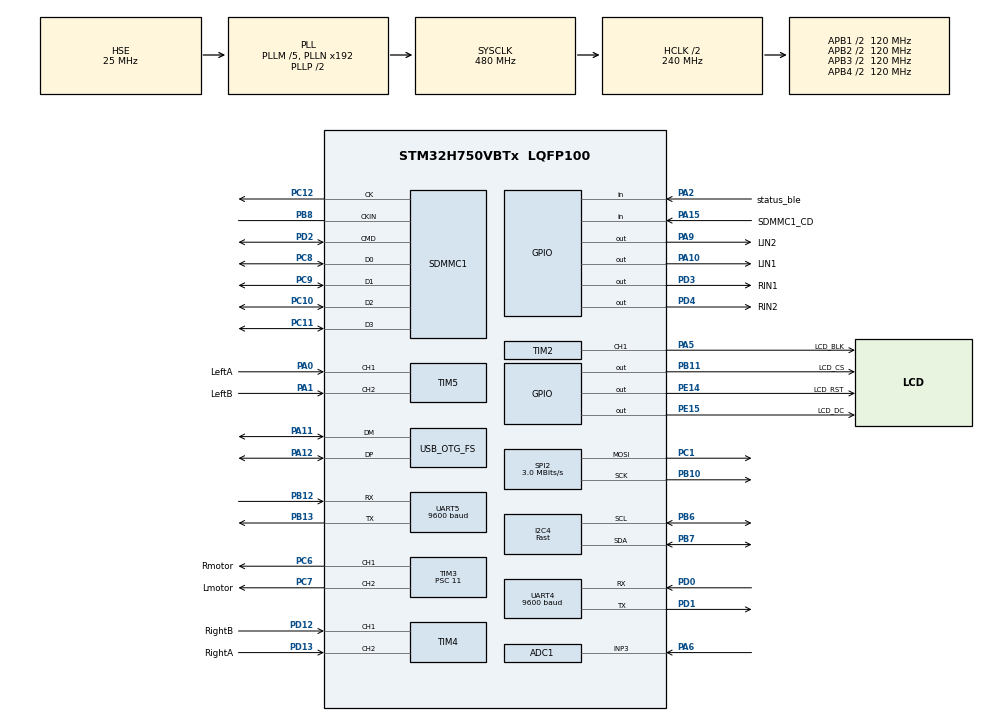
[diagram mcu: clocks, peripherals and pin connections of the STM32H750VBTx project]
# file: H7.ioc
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ADC1.Channel-1\#ChannelRegularConversion=ADC_CHANNEL_3
ADC1.ContinuousConvMode=ENABLE
ADC1.ConversionDataManagement=ADC_CONVERSIONDATA_DFSDM
ADC1.NbrOfConversionFlag=1
ADC1.OffsetNumber-1\#ChannelRegularConversion=ADC_OFFSET_NONE
ADC1.OffsetSignedSaturation-1\#ChannelRegularConversion=DISABLE
ADC1.Overrun=ADC_OVR_DATA_OVERWRITTEN
ADC1.Rank-1\#ChannelRegularConversion=1
ADC1.SamplingTime-1\#ChannelRegularConversion=ADC_SAMPLETIME_64CYCLES_5
ADC1.master=1
CORTEX_M7.default_mode_Activation=1
Dma.ADC1.0.Direction=DMA_PERIPH_TO_MEMORY
Dma.ADC1.0.EventEnable=DISABLE
Dma.ADC1.0.FIFOMode=DMA_FIFOMODE_DISABLE
Dma.ADC1.0.Instance=DMA1_Stream0
Dma.ADC1.0.MemDataAlignment=DMA_MDATAALIGN_HALFWORD
Dma.ADC1.0.MemInc=DMA_MINC_ENABLE
Dma.ADC1.0.Mode=DMA_CIRCULAR
Dma.ADC1.0.PeriphDataAlignment=DMA_PDATAALIGN_HALFWORD
Dma.ADC1.0.PeriphInc=DMA_PINC_DISABLE
Dma.ADC1.0.Polarity=HAL_DMAMUX_REQ_GEN_RISING
Dma.ADC1.0.Priority=DMA_PRIORITY_LOW
Dma.ADC1.0.RequestNumber=1
Dma.ADC1.0.SignalID=NONE
Dma.ADC1.0.SyncEnable=DISABLE
Dma.ADC1.0.SyncPolarity=HAL_DMAMUX_SYNC_NO_EVENT
Dma.ADC1.0.SyncRequestNumber=1
Dma.ADC1.0.SyncSignalID=NONE
Dma.Request0=ADC1
Dma.Request1=UART4_RX
Dma.Request2=SPI2_TX
Dma.SPI2_TX.2.Direction=DMA_MEMORY_TO_PERIPH
Dma.SPI2_TX.2.EventEnable=DISABLE
Dma.SPI2_TX.2.FIFOMode=DMA_FIFOMODE_DISABLE
Dma.SPI2_TX.2.Instance=DMA1_Stream2
Dma.SPI2_TX.2.MemDataAlignment=DMA_MDATAALIGN_BYTE
Dma.SPI2_TX.2.MemInc=DMA_MINC_ENABLE
Dma.SPI2_TX.2.Mode=DMA_NORMAL
Dma.SPI2_TX.2.PeriphDataAlignment=DMA_PDATAALIGN_BYTE
Dma.SPI2_TX.2.PeriphInc=DMA_PINC_DISABLE
Dma.SPI2_TX.2.Polarity=HAL_DMAMUX_REQ_GEN_RISING
Dma.SPI2_TX.2.Priority=DMA_PRIORITY_LOW
Dma.SPI2_TX.2.RequestNumber=1
Dma.SPI2_TX.2.SignalID=NONE
Dma.SPI2_TX.2.SyncEnable=DISABLE
Dma.SPI2_TX.2.SyncPolarity=HAL_DMAMUX_SYNC_NO_EVENT
Dma.SPI2_TX.2.SyncRequestNumber=1
Dma.SPI2_TX.2.SyncSignalID=NONE
Dma.UART4_RX.1.Direction=DMA_PERIPH_TO_MEMORY
Dma.UART4_RX.1.EventEnable=DISABLE
Dma.UART4_RX.1.FIFOMode=DMA_FIFOMODE_DISABLE
Dma.UART4_RX.1.Instance=DMA1_Stream1
Dma.UART4_RX.1.MemDataAlignment=DMA_MDATAALIGN_BYTE
Dma.UART4_RX.1.MemInc=DMA_MINC_ENABLE
Dma.UART4_RX.1.Mode=DMA_CIRCULAR
Dma.UART4_RX.1.PeriphDataAlignment=DMA_PDATAALIGN_BYTE
Dma.UART4_RX.1.PeriphInc=DMA_PINC_DISABLE
Dma.UART4_RX.1.Polarity=HAL_DMAMUX_REQ_GEN_RISING
Dma.UART4_RX.1.Priority=DMA_PRIORITY_HIGH
Dma.UART4_RX.1.RequestNumber=1
Dma.UART4_RX.1.SignalID=NONE
Dma.UART4_RX.1.SyncEnable=DISABLE
Dma.UART4_RX.1.SyncPolarity=HAL_DMAMUX_SYNC_NO_EVENT
Dma.UART4_RX.1.SyncRequestNumber=1
Dma.UART4_RX.1.SyncSignalID=NONE
FREERTOS.HEAP_NUMBER=2
FREERTOS.Tasks01=defaultTask,24,128,StartDefaultTask,Default,NULL,Dynamic,NULL,NULL;ServoTask,27,256,StartTask02,Default,NULL,Dynamic,NULL,NULL;MotorTask,44,256,StartTask03,Default,NULL,Dynamic,NULL,NULL;DisplayTask,9,512,StartTask04,Default,NULL,Dynamic,NULL,NULL;ControlTask,27,512,StartTask05,Default,NULL,Dynamic,NULL,NULL;BluetoothTask,8,256,StartTask06,Default,NULL,Dynamic,NULL,NULL
FREERTOS.configTOTAL_HEAP_SIZE=51200
I2C4.I2C_Speed_Mode=I2C_Fast
I2C4.Timing=0x00000004
Mcu.Family=STM32H7
Mcu.Name=STM32H750VBTx
Mcu.Package=LQFP100
NVIC.DMA1_Stream0_IRQn=true\:5\:0\:true\:false\:true\:true\:false\:true\:true
NVIC.DMA1_Stream1_IRQn=true\:5\:0\:true\:false\:true\:true\:false\:true\:true
NVIC.DMA1_Stream2_IRQn=true\:5\:0\:true\:false\:true\:true\:false\:true\:true
NVIC.PriorityGroup=NVIC_PRIORITYGROUP_4
NVIC.SPI2_IRQn=true\:7\:0\:true\:false\:true\:true\:false\:true\:true
NVIC.TIM3_IRQn=true\:5\:0\:true\:false\:true\:true\:true\:true\:true
NVIC.TIM4_IRQn=true\:5\:0\:false\:false\:true\:true\:true\:true\:true
NVIC.TIM5_IRQn=true\:5\:0\:true\:false\:true\:false\:true\:true\:true
NVIC.TIM7_IRQn=true\:15\:0\:false\:false\:true\:false\:false\:true\:true
NVIC.TimeBase=TIM7_IRQn
NVIC.TimeBaseIP=TIM7
NVIC.UART4_IRQn=true\:5\:0\:true\:false\:true\:true\:true\:true\:true
NVIC.UART5_IRQn=true\:5\:0\:false\:false\:true\:true\:true\:true\:true
PA0.GPIO_Label=LeftA
PA0.Signal=S_TIM5_CH1
PA1.GPIO_Label=LeftB
PA1.Signal=S_TIM5_CH2
PA10.GPIO_Label=LIN1
PA10.Signal=GPIO_Output
PA11.Mode=Device_Only
PA11.Signal=USB_OTG_FS_DM
PA12.Mode=Device_Only
PA12.Signal=USB_OTG_FS_DP
PA13\ (JTMS/SWDIO).Mode=Serial_Wire
PA13\ (JTMS/SWDIO).Signal=DEBUG_JTMS-SWDIO
PA14\ (JTCK/SWCLK).Mode=Serial_Wire
PA14\ (JTCK/SWCLK).Signal=DEBUG_JTCK-SWCLK
PA15\ (JTDI).GPIO_Label=SDMMC1_CD
PA15\ (JTDI).Signal=GPIO_Input
PA2.GPIO_Label=status_ble
PA2.Signal=GPIO_Input
PA5.GPIO_Label=LCD_BLK
PA5.Signal=S_TIM2_CH1_ETR
PA6.Signal=ADCx_INP3
PA9.GPIO_Label=LIN2
PA9.Signal=GPIO_Output
PB10.Mode=TX_Only_Simplex_Unidirect_Master
PB10.Signal=SPI2_SCK
PB11.GPIO_Label=LCD_CS
PB11.PinState=GPIO_PIN_SET
PB11.Signal=GPIO_Output
PB12.Mode=Asynchronous
PB12.Signal=UART5_RX
PB13.Mode=Asynchronous
PB13.Signal=UART5_TX
PB6.GPIO_Pu=GPIO_PULLUP
PB6.Mode=I2C
PB6.Signal=I2C4_SCL
PB7.GPIO_Pu=GPIO_PULLUP
PB7.Mode=I2C
PB7.Signal=I2C4_SDA
PB8.Mode=SD_4_bits_Wide_bus_auto_dir_voltage_converter
PB8.Signal=SDMMC1_CKIN
PC1.Mode=TX_Only_Simplex_Unidirect_Master
PC1.Signal=SPI2_MOSI
PC10.Mode=SD_4_bits_Wide_bus_auto_dir_voltage_converter
PC10.Signal=SDMMC1_D2
PC11.Mode=SD_4_bits_Wide_bus_auto_dir_voltage_converter
PC11.Signal=SDMMC1_D3
PC12.Mode=SD_4_bits_Wide_bus_auto_dir_voltage_converter
PC12.Signal=SDMMC1_CK
PC14-OSC32_IN\ (OSC32_IN).Mode=LSE-External-Oscillator
PC14-OSC32_IN\ (OSC32_IN).Signal=RCC_OSC32_IN
PC15-OSC32_OUT\ (OSC32_OUT).Mode=LSE-External-Oscillator
PC15-OSC32_OUT\ (OSC32_OUT).Signal=RCC_OSC32_OUT
PC6.GPIO_Label=Rmotor
PC6.Signal=S_TIM3_CH1
PC7.GPIO_Label=Lmotor
PC7.Signal=S_TIM3_CH2
PC8.Mode=SD_4_bits_Wide_bus_auto_dir_voltage_converter
PC8.Signal=SDMMC1_D0
PC9.Mode=SD_4_bits_Wide_bus_auto_dir_voltage_converter
PC9.Signal=SDMMC1_D1
PD0.Mode=Asynchronous
PD0.Signal=UART4_RX
PD1.Mode=Asynchronous
PD1.Signal=UART4_TX
PD12.GPIO_Label=RightB
PD12.Signal=S_TIM4_CH1
PD13.GPIO_Label=RightA
PD13.Signal=S_TIM4_CH2
PD2.Mode=SD_4_bits_Wide_bus_auto_dir_voltage_converter
PD2.Signal=SDMMC1_CMD
PD3.GPIO_Label=RIN1
PD3.Signal=GPIO_Output
PD4.GPIO_Label=RIN2
PD4.Signal=GPIO_Output
PE14.GPIO_Label=LCD_RST
PE14.PinState=GPIO_PIN_SET
PE14.Signal=GPIO_Output
PE15.GPIO_Label=LCD_DC
PE15.Signal=GPIO_Output
PH0-OSC_IN\ (PH0).Mode=HSE-External-Oscillator
PH0-OSC_IN\ (PH0).Signal=RCC_OSC_IN
PH1-OSC_OUT\ (PH1).Mode=HSE-External-Oscillator
PH1-OSC_OUT\ (PH1).Signal=RCC_OSC_OUT
ProjectManager.HeapSize=0x200
ProjectManager.StackSize=0x400
ProjectManager.TargetToolchain=CMake
RCC.ADCFreq_Value=24000000
RCC.APB1Freq_Value=120000000
RCC.APB2Freq_Value=120000000
RCC.APB3Freq_Value=120000000
RCC.APB4Freq_Value=120000000
RCC.CortexFreq_Value=480000000
RCC.D1PPRE=RCC_APB3_DIV2
RCC.D2PPRE1=RCC_APB1_DIV2
RCC.D2PPRE2=RCC_APB2_DIV2
RCC.D3PPRE=RCC_APB4_DIV2
RCC.DIVM1=5
RCC.DIVM2=5
RCC.DIVM3=25
RCC.DIVN1=192
RCC.DIVN2=48
RCC.DIVN3=200
RCC.DIVP2=10
RCC.DIVQ1=20
RCC.DIVR3=50
RCC.HCLKFreq_Value=240000000
RCC.HPRE=RCC_HCLK_DIV2
RCC.HSIDiv=RCC_PLLSAIDIVR_8
RCC.I2C4CLockSelection=RCC_I2C4CLKSOURCE_PLL3
RCC.PLL1_VCI_Range-AdvancedSettings=RCC_PLL1VCIRANGE_1
RCC.PLL2FRACN=0
RCC.PLL2_VCO_SEL-AdvancedSettings=RCC_PLL2VCOMEDIUM
RCC.PLL3FRACN=0
RCC.PLLFRACN=0
RCC.SYSCLKFreq_VALUE=480000000
RCC.SYSCLKSource=RCC_SYSCLKSOURCE_PLLCLK
RCC.USART234578CLockSelection=RCC_USART234578CLKSOURCE_PLL2
RCC.USBFreq_Value=48000000
SH.ADCx_INP3.0=ADC1_INP3,IN3-Single-Ended
SH.S_TIM2_CH1_ETR.0=TIM2_CH1,PWM Generation1 CH1
SH.S_TIM3_CH1.0=TIM3_CH1,PWM Generation1 CH1
SH.S_TIM3_CH2.0=TIM3_CH2,PWM Generation2 CH2
SH.S_TIM4_CH1.0=TIM4_CH1,Encoder_Interface
SH.S_TIM4_CH2.0=TIM4_CH2,Encoder_Interface
SH.S_TIM5_CH1.0=TIM5_CH1,Encoder_Interface
SH.S_TIM5_CH2.0=TIM5_CH2,Encoder_Interface
SPI2.BaudRatePrescaler=SPI_BAUDRATEPRESCALER_16
SPI2.CalculateBaudRate=3.0 MBits/s
SPI2.DataSize=SPI_DATASIZE_8BIT
SPI2.Direction=SPI_DIRECTION_2LINES_TXONLY
SPI2.Mode=SPI_MODE_MASTER
SPI2.VirtualType=VM_MASTER
TIM2.AutoReloadPreload=TIM_AUTORELOAD_PRELOAD_ENABLE
TIM2.Channel-PWM\ Generation1\ CH1=TIM_CHANNEL_1
TIM2.OCFastMode_PWM-PWM\ Generation1\ CH1=TIM_OCFAST_DISABLE
TIM2.Period=19999
TIM2.Prescaler=119
TIM3.AutoReloadPreload=TIM_AUTORELOAD_PRELOAD_ENABLE
TIM3.Channel-PWM\ Generation1\ CH1=TIM_CHANNEL_1
TIM3.Channel-PWM\ Generation2\ CH2=TIM_CHANNEL_2
TIM3.Period=999
TIM3.Prescaler=11
TIM4.IC1Filter=10
TIM4.IC2Filter=10
TIM5.IC2Filter=10
UART4.BaudRate=9600
UART4.FIFOMode=FIFOMODE_ENABLE
UART4.RXFIFOThreshold=RXFIFO_THRESHOLD_1QUARTERFULL
UART4.TXFIFOThreshold=TXFIFO_THRESHOLD_1QUARTERFULL
UART5.BaudRate=9600
UART5.FIFOMode=FIFOMODE_ENABLE
USB_OTG_FS.VirtualMode=Device_Only
VP_FREERTOS_VS_CMSIS_V2.Mode=CMSIS_V2
VP_MEMORYMAP_VS_MEMORYMAP.Mode=CurAppReg
VP_SYS_VS_tim7.Mode=TIM7
VP_TIM2_VS_ClockSourceINT.Mode=Internal
VP_TIM3_VS_ClockSourceINT.Mode=Internal
board=custom

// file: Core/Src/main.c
/* USER CODE BEGIN Header */
/**
  ******************************************************************************
  * @file           : main.c
  * @brief          : Main program body
  ******************************************************************************
  * @attention
  *
  * Copyright (c) 2026 STMicroelectronics.
  * All rights reserved.
  *
  * This software is licensed under terms that can be found in the LICENSE file
  * in the root directory of this software component.
  * If no LICENSE file comes with this software, it is provided AS-IS.
  *
  ******************************************************************************
  */
/* USER CODE END Header */
#include "main.h"
#include "cmsis_os.h"
#include "adc.h"
#include "dma.h"
#include "i2c.h"
#include "sdmmc.h"
#include "spi.h"
#include "tim.h"
#include "usart.h"
#include "usb_otg.h"
#include "gpio.h"

/* USER CODE BEGIN Includes */
#include <stdio.h>
#include "LCD.h"
#include "battery.h"
#include "servo.h"
#include "motor.h"
#include "Openmv.h"
#include "bluetooth.h"
#include "pid.h"
#include "auto.h"
/* USER CODE END Includes */

/* USER CODE BEGIN PV */
// 舵机数据
extern uint8_t servo_init_ok;
extern int16_t base_angle;
extern int16_t arm_angle;
extern int16_t claw_angle;
extern int16_t base_target;
extern int16_t arm_target;
extern int16_t claw_target;
/* USER CODE END PV */

void SystemClock_Config(void);
void PeriphCommonClock_Config(void);
static void MPU_Config(void);
void MX_FREERTOS_Init(void);

int main(void)
{

  /* MPU Configuration--------------------------------------------------------*/
  MPU_Config();

  /* MCU Configuration--------------------------------------------------------*/

  /* Reset of all peripherals, Initializes the Flash interface and the Systick. */
  HAL_Init();

  /* Configure the system clock */
  SystemClock_Config();

  /* Configure the peripherals common clocks */
  PeriphCommonClock_Config();

  /* Initialize all configured peripherals */
  MX_GPIO_Init();
  MX_DMA_Init();
  MX_ADC1_Init();
  MX_TIM2_Init();
  MX_SPI2_Init();
  MX_TIM3_Init();
  MX_TIM4_Init();
  MX_TIM5_Init();
  MX_UART4_Init();
  MX_UART5_Init();
  MX_I2C4_Init();
  MX_SDMMC1_SD_Init();
  MX_USB_OTG_FS_PCD_Init();
  /* USER CODE BEGIN 2 */
  ST7735_Init(&hspi2);
  Battery_Init(&hadc1);
  Motor_Init();
  Servo_Init(50);
  OpenMV_Init();
  Bluetooth_Init();
  /* USER CODE END 2 */

  /* Init scheduler */
  osKernelInitialize();  /* Call init function for freertos objects (in cmsis_os2.c) */
  MX_FREERTOS_Init();

  /* Start scheduler */
  osKernelStart();

  /* We should never get here as control is now taken by the scheduler */

  /* Infinite loop */
  while (1)
  {
  }

}

void SystemClock_Config(void)
{
  RCC_OscInitTypeDef RCC_OscInitStruct = {0};
  RCC_ClkInitTypeDef RCC_ClkInitStruct = {0};

  /** Supply configuration update enable
  */
  HAL_PWREx_ConfigSupply(PWR_LDO_SUPPLY);

  /** Configure the main internal regulator output voltage
  */
  __HAL_PWR_VOLTAGESCALING_CONFIG(PWR_REGULATOR_VOLTAGE_SCALE0);

  while(!__HAL_PWR_GET_FLAG(PWR_FLAG_VOSRDY)) {}

  /** Initializes the RCC Oscillators according to the specified parameters
  * in the RCC_OscInitTypeDef structure.
  */
  RCC_OscInitStruct.OscillatorType = RCC_OSCILLATORTYPE_HSE;
  RCC_OscInitStruct.HSEState = RCC_HSE_ON;
  RCC_OscInitStruct.PLL.PLLState = RCC_PLL_ON;
  RCC_OscInitStruct.PLL.PLLSource = RCC_PLLSOURCE_HSE;
  RCC_OscInitStruct.PLL.PLLM = 5;
  RCC_OscInitStruct.PLL.PLLN = 192;
  RCC_OscInitStruct.PLL.PLLP = 2;
  RCC_OscInitStruct.PLL.PLLQ = 20;
  RCC_OscInitStruct.PLL.PLLR = 2;
  RCC_OscInitStruct.PLL.PLLRGE = RCC_PLL1VCIRANGE_2;
  RCC_OscInitStruct.PLL.PLLVCOSEL = RCC_PLL1VCOWIDE;
  RCC_OscInitStruct.PLL.PLLFRACN = 0;
  if (HAL_RCC_OscConfig(&RCC_OscInitStruct) != HAL_OK)
  {
    Error_Handler();
  }

  /** Initializes the CPU, AHB and APB buses clocks
  */
  RCC_ClkInitStruct.ClockType = RCC_CLOCKTYPE_HCLK|RCC_CLOCKTYPE_SYSCLK
                              |RCC_CLOCKTYPE_PCLK1|RCC_CLOCKTYPE_PCLK2
                              |RCC_CLOCKTYPE_D3PCLK1|RCC_CLOCKTYPE_D1PCLK1;
  RCC_ClkInitStruct.SYSCLKSource = RCC_SYSCLKSOURCE_PLLCLK;
  RCC_ClkInitStruct.SYSCLKDivider = RCC_SYSCLK_DIV1;
  RCC_ClkInitStruct.AHBCLKDivider = RCC_HCLK_DIV2;
  RCC_ClkInitStruct.APB3CLKDivider = RCC_APB3_DIV2;
  RCC_ClkInitStruct.APB1CLKDivider = RCC_APB1_DIV2;
  RCC_ClkInitStruct.APB2CLKDivider = RCC_APB2_DIV2;
  RCC_ClkInitStruct.APB4CLKDivider = RCC_APB4_DIV2;

  if (HAL_RCC_ClockConfig(&RCC_ClkInitStruct, FLASH_LATENCY_4) != HAL_OK)
  {
    Error_Handler();
  }
}

void PeriphCommonClock_Config(void)
{
  RCC_PeriphCLKInitTypeDef PeriphClkInitStruct = {0};

  /** Initializes the peripherals clock
  */
  PeriphClkInitStruct.PeriphClockSelection = RCC_PERIPHCLK_ADC|RCC_PERIPHCLK_UART5
                              |RCC_PERIPHCLK_UART4;
  PeriphClkInitStruct.PLL2.PLL2M = 5;
  PeriphClkInitStruct.PLL2.PLL2N = 48;
  PeriphClkInitStruct.PLL2.PLL2P = 10;
  PeriphClkInitStruct.PLL2.PLL2Q = 2;
  PeriphClkInitStruct.PLL2.PLL2R = 2;
  PeriphClkInitStruct.PLL2.PLL2RGE = RCC_PLL2VCIRANGE_2;
  PeriphClkInitStruct.PLL2.PLL2VCOSEL = RCC_PLL2VCOMEDIUM;
  PeriphClkInitStruct.PLL2.PLL2FRACN = 0;
  PeriphClkInitStruct.Usart234578ClockSelection = RCC_USART234578CLKSOURCE_PLL2;
  PeriphClkInitStruct.AdcClockSelection = RCC_ADCCLKSOURCE_PLL2;
  if (HAL_RCCEx_PeriphCLKConfig(&PeriphClkInitStruct) != HAL_OK)
  {
    Error_Handler();
  }
}

 /* MPU Configuration */

void MPU_Config(void)
{
  MPU_Region_InitTypeDef MPU_InitStruct = {0};

  /* Disables the MPU */
  HAL_MPU_Disable();

  /** Initializes and configures the Region and the memory to be protected
  */
  MPU_InitStruct.Enable = MPU_REGION_ENABLE;
  MPU_InitStruct.Number = MPU_REGION_NUMBER0;
  MPU_InitStruct.BaseAddress = 0x0;
  MPU_InitStruct.Size = MPU_REGION_SIZE_4GB;
  MPU_InitStruct.SubRegionDisable = 0x87;
  MPU_InitStruct.TypeExtField = MPU_TEX_LEVEL0;
  MPU_InitStruct.AccessPermission = MPU_REGION_NO_ACCESS;
  MPU_InitStruct.DisableExec = MPU_INSTRUCTION_ACCESS_DISABLE;
  MPU_InitStruct.IsShareable = MPU_ACCESS_SHAREABLE;
  MPU_InitStruct.IsCacheable = MPU_ACCESS_NOT_CACHEABLE;
  MPU_InitStruct.IsBufferable = MPU_ACCESS_NOT_BUFFERABLE;

  HAL_MPU_ConfigRegion(&MPU_InitStruct);
  /* Enables the MPU */
  HAL_MPU_Enable(MPU_PRIVILEGED_DEFAULT);

}

void HAL_TIM_PeriodElapsedCallback(TIM_HandleTypeDef *htim)
{
  if (htim->Instance == TIM7)
  {
    HAL_IncTick();
  }
}

void Error_Handler(void)
{
  __disable_irq();
  while (1)
  {
  }
}

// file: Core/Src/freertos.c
/* USER CODE BEGIN Header */
/**
  ******************************************************************************
  * File Name          : freertos.c
  * Description        : Code for freertos applications
  ******************************************************************************
  * @attention
  *
  * Copyright (c) 2026 STMicroelectronics.
  * All rights reserved.
  *
  * This software is licensed under terms that can be found in the LICENSE file
  * in the root directory of this software component.
  * If no LICENSE file comes with this software, it is provided AS-IS.
  *
  ******************************************************************************
  */
/* USER CODE END Header */

#include "FreeRTOS.h"
#include "task.h"
#include "main.h"
#include "cmsis_os.h"

/* USER CODE BEGIN Includes */
#include <stdio.h>
#include "LCD.h"
#include "battery.h"
#include "servo.h"
#include "motor.h"
#include "Openmv.h"
#include "bluetooth.h"
#include "pid.h"
#include "auto.h"
/* USER CODE END Includes */

/* Definitions for defaultTask */
osThreadId_t defaultTaskHandle;
const osThreadAttr_t defaultTask_attributes = {
  .name = "defaultTask",
  .stack_size = 128 * 4,
  .priority = (osPriority_t) osPriorityNormal,
};
/* Definitions for ServoTask */
osThreadId_t ServoTaskHandle;
const osThreadAttr_t ServoTask_attributes = {
  .name = "ServoTask",
  .stack_size = 256 * 4,
  .priority = (osPriority_t) osPriorityNormal3,
};
/* Definitions for MotorTask */
osThreadId_t MotorTaskHandle;
const osThreadAttr_t MotorTask_attributes = {
  .name = "MotorTask",
  .stack_size = 256 * 4,
  .priority = (osPriority_t) osPriorityHigh4,
};
/* Definitions for DisplayTask */
osThreadId_t DisplayTaskHandle;
const osThreadAttr_t DisplayTask_attributes = {
  .name = "DisplayTask",
  .stack_size = 512 * 4,
  .priority = (osPriority_t) osPriorityLow1,
};
/* Definitions for ControlTask */
osThreadId_t ControlTaskHandle;
const osThreadAttr_t ControlTask_attributes = {
  .name = "ControlTask",
  .stack_size = 512 * 4,
  .priority = (osPriority_t) osPriorityNormal3,
};
/* Definitions for BluetoothTask */
osThreadId_t BluetoothTaskHandle;
const osThreadAttr_t BluetoothTask_attributes = {
  .name = "BluetoothTask",
  .stack_size = 256 * 4,
  .priority = (osPriority_t) osPriorityLow,
};

void StartDefaultTask(void *argument);
void StartTask02(void *argument);
void StartTask03(void *argument);
void StartTask04(void *argument);
void StartTask05(void *argument);
void StartTask06(void *argument);

void MX_FREERTOS_Init(void); /* (MISRA C 2004 rule 8.1) */

void MX_FREERTOS_Init(void) {

  /* Create the thread(s) */
  /* creation of defaultTask */
  defaultTaskHandle = osThreadNew(StartDefaultTask, NULL, &defaultTask_attributes);

  /* creation of ServoTask */
  ServoTaskHandle = osThreadNew(StartTask02, NULL, &ServoTask_attributes);

  /* creation of MotorTask */
  MotorTaskHandle = osThreadNew(StartTask03, NULL, &MotorTask_attributes);

  /* creation of DisplayTask */
  DisplayTaskHandle = osThreadNew(StartTask04, NULL, &DisplayTask_attributes);

  /* creation of ControlTask */
  ControlTaskHandle = osThreadNew(StartTask05, NULL, &ControlTask_attributes);

  /* creation of BluetoothTask */
  BluetoothTaskHandle = osThreadNew(StartTask06, NULL, &BluetoothTask_attributes);

}

void StartDefaultTask(void *argument)
{
  /* USER CODE BEGIN StartDefaultTask */
  /* Idle / health-check task — kept minimal */
  for(;;)
  {
    osDelay(1000);
  }
  /* USER CODE END StartDefaultTask */
}

void StartTask02(void *argument)
{
  /* USER CODE BEGIN StartTask02 */
  /* ServoTask — 舵机平滑运动 + 抓取状态机, 10ms 周期 */
  for(;;)
  {
    Servo_Handle_Tick();
    Servo_Task_GrabProcess();
    osDelay(10);
  }
  /* USER CODE END StartTask02 */
}

void StartTask03(void *argument)
{
  /* USER CODE BEGIN StartTask03 */
  /* MotorTask — 编码器刷新 + PID 闭环, 100ms 周期 */
  for(;;)
  {
    Motor_UpdateStatus();
    Motor_RunPID();
    osDelay(100);
  }
  /* USER CODE END StartTask03 */
}

void StartTask04(void *argument)
{
  /* USER CODE BEGIN StartTask04 */
  /* DisplayTask — LCD 信息刷新, 500ms 周期 */
  for(;;)
  {
    char buf[32];

    MotorStatus_t L = Motor_GetStatus(MOTOR_LEFT);
    MotorStatus_t R = Motor_GetStatus(MOTOR_RIGHT);

    char sign_Lv = L.speed < 0 ? '-' : ' ';
    int32_t abs_Lv = L.speed < 0 ? -L.speed : L.speed;
    char sign_Ld = L.distance < 0 ? '-' : ' ';
    int32_t abs_Ld = L.distance < 0 ? -L.distance : L.distance;

    char sign_Rv = R.speed < 0 ? '-' : ' ';
    int32_t abs_Rv = R.speed < 0 ? -R.speed : R.speed;
    char sign_Rd = R.distance < 0 ? '-' : ' ';
    int32_t abs_Rd = R.distance < 0 ? -R.distance : R.distance;

    // 左电机
    sprintf(buf, "L_v:%c%ld.%01ld cm/s   ", sign_Lv, abs_Lv / 10, abs_Lv % 10);
    ST7735_DrawString(5, 5, buf, WHITE, BLACK);
    sprintf(buf, "L_D:%c%ld.%01ld cm   ", sign_Ld, abs_Ld / 10, abs_Ld % 10);
    ST7735_DrawString(5, 15, buf, YELLOW, BLACK);

    // 右电机
    sprintf(buf, "R_v:%c%ld.%01ld cm/s   ", sign_Rv, abs_Rv / 10, abs_Rv % 10);
    ST7735_DrawString(5, 35, buf, WHITE, BLACK);
    sprintf(buf, "R_D:%c%ld.%01ld cm   ", sign_Rd, abs_Rd / 10, abs_Rd % 10);
    ST7735_DrawString(5, 45, buf, YELLOW, BLACK);

    // base / arm 当前角度
    sprintf(buf, "Base:%3d Arm:%3d    ", base_angle, arm_angle);
    ST7735_DrawString(5, 55, buf, WHITE, BLACK);

    // claw 当前/目标角度
    sprintf(buf, "Claw:%3d    ", claw_angle);
    ST7735_DrawString(5, 65, buf, WHITE, BLACK);

    // OpenMV 数据
    {
        static uint32_t last_openmv_tick = 0;
        static uint32_t last_rx_count = 0;
        uint32_t now = HAL_GetTick();
        if (uart4_rx_count != last_rx_count) {
            last_rx_count = uart4_rx_count;
            last_openmv_tick = now;
        }
        if (now - last_openmv_tick > 1000) {
            sprintf(buf, "OpenMV Error!!    ");
            ST7735_DrawString(5, 88, buf, RED, BLACK);
        } else {
            sprintf(buf, "RX:%lu            ", uart4_rx_count);
            ST7735_DrawString(5, 88, buf, WHITE, BLACK);
        }
        sprintf(buf, "TF:%d DS:%d ", g_openmv_data.offset, g_openmv_data.distance);
        ST7735_DrawString(5, 78, buf, YELLOW, BLACK);
    }

    // 电池
    Battery_Show();

    // 蓝牙状态
    sprintf(buf, "Mode:%s Dir:%d ", g_app_ctrl.mode == 0 ? "AUTO  " : "MANUAL", g_app_ctrl.direction);
    ST7735_DrawString(5, 100, buf, YELLOW, BLACK);
    sprintf(buf, "Rx: %02X %02X %02X %02X  ", g_app_ctrl.raw_data[0], g_app_ctrl.raw_data[1], g_app_ctrl.raw_data[2], g_app_ctrl.raw_data[3]);
    ST7735_DrawString(5, 110, buf, WHITE, BLACK);

    // 舵机状态 + 自动模式球数
    if (g_app_ctrl.mode == 0) {
        sprintf(buf, "S:%s B:%d    ", servo_init_ok ? "OK" : "ER",
                AutoMode_GetBallCount());
    } else {
        sprintf(buf, "S:%s    ", servo_init_ok ? "OK" : "ER");
    }
    ST7735_DrawString(5, 120, buf, servo_init_ok ? GREEN : RED, BLACK);

    osDelay(500);
  }
  /* USER CODE END StartTask04 */
}

void StartTask05(void *argument)
{
  /* USER CODE BEGIN StartTask05 */
  /* ControlTask — 模式切换检测 + 自动/手动模式控制逻辑 */
  static uint8_t last_mode = 255;

  for(;;)
  {
    // ---- 模式切换检测 ----
    if (g_app_ctrl.mode != last_mode) {
        last_mode = g_app_ctrl.mode;
        if (g_app_ctrl.mode == 0) {
            AutoMode_Reset();
        } else {
            Motor_Stop();
        }
    }

    if (g_app_ctrl.mode == 0) {
        // ========== 自动模式 ==========
        AutoMode_Run();
    } else {
        // ========== 手动模式 ==========

        // ---- 运动方向控制 (摇杆全向公式) ----
        {
            int32_t raw_y = g_app_ctrl.joy_l_y;
            int32_t raw_x = g_app_ctrl.joy_l_x;

            int32_t diff_y = raw_y - 128;
            int32_t diff_x = raw_x - 128;
            if (diff_y < 0) diff_y = -diff_y;
            if (diff_x < 0) diff_x = -diff_x;
            if (diff_y <= JOY_DEADBAND) raw_y = 128;
            if (diff_x <= JOY_DEADBAND) raw_x = 128;

            int32_t jy = (int32_t)128 - raw_y;
            int32_t jx = (int32_t)raw_x - 128;

            int32_t abs_jy = jy < 0 ? -jy : jy;
            int32_t abs_jx = jx < 0 ? -jx : jx;
            int32_t base = (abs_jy * abs_jy / 128) * JOY_MAX_SPEED / 128;
            int32_t diff = (abs_jx * abs_jx / 128) * JOY_MAX_TURN / 128;
            if (jy < 0) base = -base;
            if (jx < 0) diff = -diff;

            int32_t left  = base + diff;
            int32_t right = base - diff;
            if (left  > JOY_MAX_SPEED)  left  = JOY_MAX_SPEED;
            if (left  < -JOY_MAX_SPEED) left  = -JOY_MAX_SPEED;
            if (right > JOY_MAX_SPEED)  right = JOY_MAX_SPEED;
            if (right < -JOY_MAX_SPEED) right = -JOY_MAX_SPEED;
            Motor_SetTargetSpeed((int16_t)left, (int16_t)right);
        }

        // ---- 舵机指令 (统一消费 servo_cmd) ----
        if (g_app_ctrl.servo_cmd != SERVO_CMD_NONE) {
            switch (g_app_ctrl.servo_cmd) {
                case SERVO_CMD_RESET:
                    Servo_MoveTo(BASE_INIT_ANGLE, ARM_INIT_ANGLE, CLAW_OPEN_ANGLE);
                    break;
                case SERVO_CMD_BASE_FRONT:
                    Servo_MoveTo(REACH_BASE_TARGET, arm_target, claw_target);
                    break;
                case SERVO_CMD_BASE_BACK:
                    Servo_MoveTo(BACK_BASE_TARGET, arm_target, claw_target);
                    break;
                case SERVO_CMD_ARM_FRONT:
                    Servo_MoveTo(base_target, REACH_ARM_TARGET, claw_target);
                    break;
                case SERVO_CMD_ARM_BACK:
                    Servo_MoveTo(base_target, BACK_ARM_TARGET, claw_target);
                    break;
                case SERVO_CMD_CLAW_CLOSE:
                    Servo_MoveTo(base_target, arm_target, CLAW_GRAB_ANGLE);
                    break;
                case SERVO_CMD_CLAW_OPEN:
                    Servo_MoveTo(base_target, arm_target, CLAW_RELEASE_ANGLE);
                    break;
                default:
                    break;
            }
            g_app_ctrl.servo_cmd = SERVO_CMD_NONE;
        }

        // ---- arm 步进控制 ----
        {
            int16_t step = 0;
            if (g_app_ctrl.arm_step_inc) { step =  1; g_app_ctrl.arm_step_inc = 0; }
            if (g_app_ctrl.arm_step_dec) { step = -1; g_app_ctrl.arm_step_dec = 0; }
            if (step != 0) {
                int16_t new_target = arm_target + step;
                if (new_target < 0)   new_target = 0;
                if (new_target > 180) new_target = 180;
                Servo_MoveTo(base_target, new_target, claw_target);
            }
        }
    }

    osDelay(10);
  }
  /* USER CODE END StartTask05 */
}

void StartTask06(void *argument)
{
  /* USER CODE BEGIN StartTask06 */
  /* BluetoothTask — 蓝牙断连检测 + OpenMV 数据转发 */
  for(;;)
  {
    Bluetooth_CheckStatus();
    OpenMV_RelayToUART5();
    osDelay(10);
  }
  /* USER CODE END StartTask06 */
}
